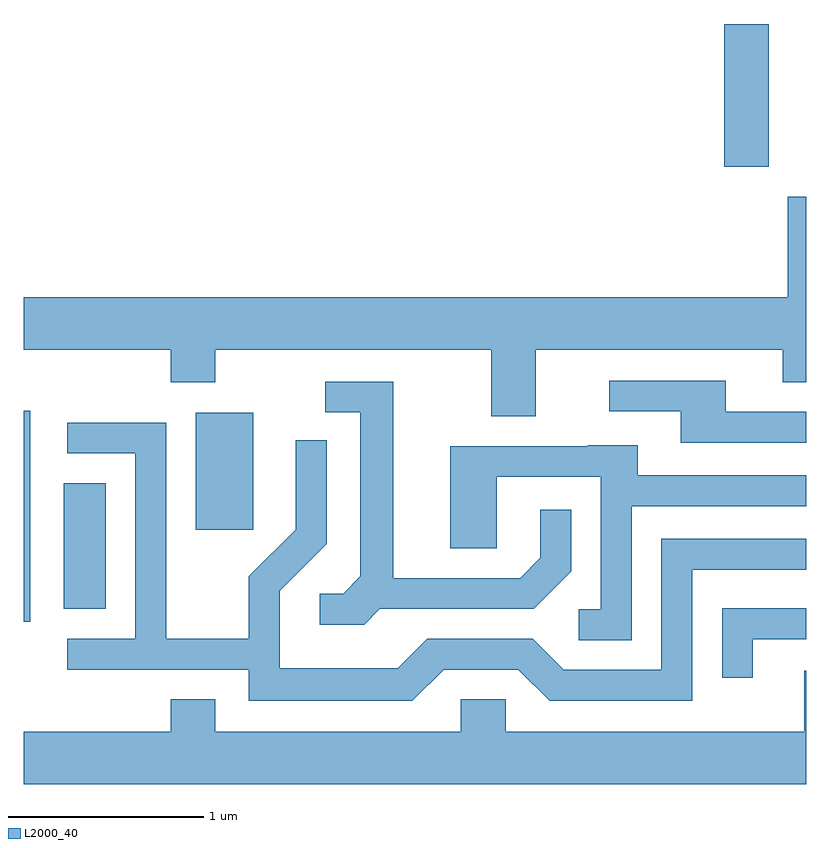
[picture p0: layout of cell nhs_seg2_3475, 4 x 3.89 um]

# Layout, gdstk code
import gdstk
lib = gdstk.Library(unit=1e-6, precision=1e-09)
def R(c, l, rs):  # rectangles x0, y0, x1, y1
    for r in rs: c.add(gdstk.rectangle(r[:2], r[2:], *l))
def P(c, l, *ps):  # polygons
    for p in ps: c.add(gdstk.Polygon(p, *l))
L2000_40 = (2000, 40)

nhs_seg2_3475 = lib.new_cell('nhs_seg2_3475')
R(nhs_seg2_3475, L2000_40, [(287.611,1004.746,287.644,1005.824), (287.816,1004.811,288.029,1005.454), (288.491,1005.216,288.784,1005.814), (291.191,1007.071,291.419,1007.802)])
P(nhs_seg2_3475, L2000_40, [(290.229,1006.136),(291.491,1006.136),(291.491,1005.971),(291.611,1005.971),(291.611,1006.919),(291.516,1006.919),(291.516,1006.404),(287.611,1006.404),(287.611,1006.136),(288.361,1006.136),(288.361,1005.971),(288.589,1005.971),(288.589,1006.136),(290.001,1006.136),(290.001,1005.796),(290.229,1005.796)],
  [(291.611,1005.819),(291.199,1005.819),(291.199,1005.979),(290.603,1005.979),(290.603,1005.821),(290.971,1005.821),(290.971,1005.661),(291.611,1005.661)],
  [(289.432,1004.811),(290.217,1004.811),(290.409,1005.004),(290.409,1005.318),(290.251,1005.318),(290.251,1005.072),(290.149,1004.969),(289.499,1004.969),(289.499,1005.974),(289.153,1005.974),(289.153,1005.816),(289.331,1005.816),(289.331,1004.977),(289.244,1004.889),(289.123,1004.889),(289.123,1004.731),(289.352,1004.731)],
  [(289.757,1004.501),(290.139,1004.501),(290.299,1004.341),(291.029,1004.341),(291.029,1005.011),(291.611,1005.011),(291.611,1005.169),(290.871,1005.169),(290.871,1004.499),(290.372,1004.499),(290.212,1004.659),(289.674,1004.659),(289.524,1004.509),(288.919,1004.509),(288.919,1004.904),(289.159,1005.144),(289.159,1005.673),(289.001,1005.673),(289.001,1005.217),(288.761,1004.977),(288.761,1004.659),(288.339,1004.659),(288.339,1005.764),(287.833,1005.764),(287.833,1005.606),(288.181,1005.606),(288.181,1004.659),(287.833,1004.659),(287.833,1004.501),(288.761,1004.501),(288.761,1004.341),(289.597,1004.341)],
  [(290.719,1005.336),(291.611,1005.336),(291.611,1005.494),(290.749,1005.494),(290.749,1005.649),(290.495,1005.649),(290.495,1005.644),(289.791,1005.644),(289.791,1005.121),(290.029,1005.121),(290.029,1005.486),(290.561,1005.486),(290.561,1004.809),(290.448,1004.809),(290.448,1004.651),(290.719,1004.651)],
  [(291.339,1004.656),(291.611,1004.656),(291.611,1004.814),(291.181,1004.814),(291.181,1004.458),(291.339,1004.458)],
  [(291.611,1004.494),(291.601,1004.494),(291.601,1004.184),(290.074,1004.184),(290.074,1004.349),(289.846,1004.349),(289.846,1004.184),(288.589,1004.184),(288.589,1004.349),(288.361,1004.349),(288.361,1004.184),(287.611,1004.184),(287.611,1003.916),(291.611,1003.916)])

lib.write_gds('nhs_seg2_3475.gds')
